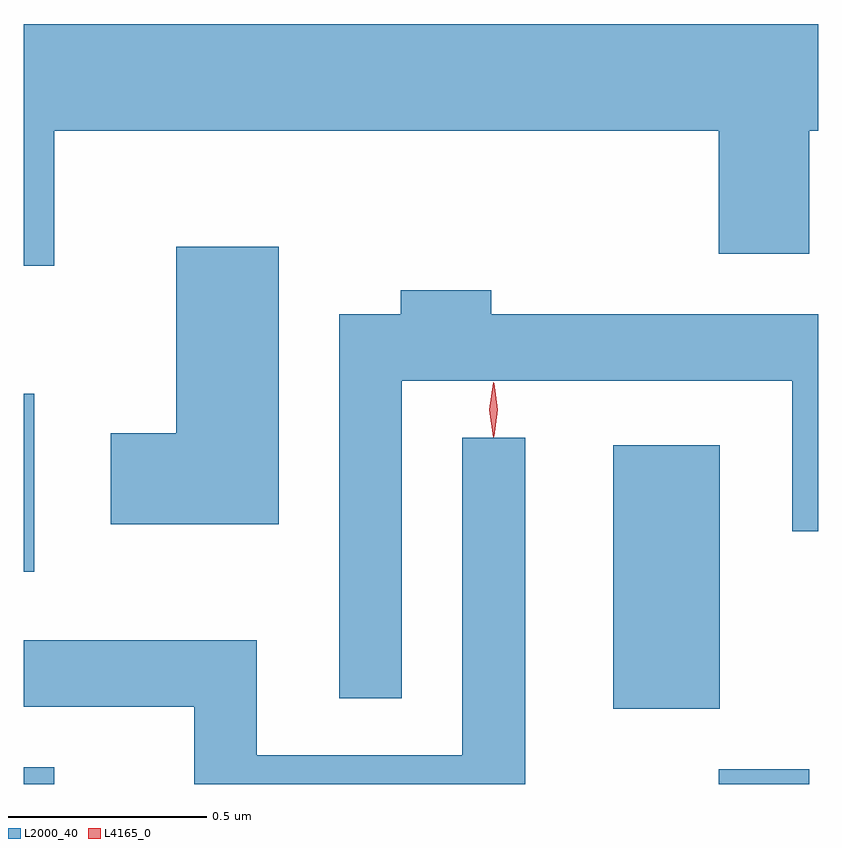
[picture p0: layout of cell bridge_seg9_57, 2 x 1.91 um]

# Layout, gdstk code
import gdstk
lib = gdstk.Library(unit=1e-6, precision=1e-09)
def R(c, l, rs):  # rectangles x0, y0, x1, y1
    for r in rs: c.add(gdstk.rectangle(r[:2], r[2:], *l))
def P(c, l, *ps):  # polygons
    for p in ps: c.add(gdstk.Polygon(p, *l))
L2000_40 = (2000, 40)
L4165_0 = (4165, 0)

bridge_seg9_57 = lib.new_cell('bridge_seg9_57')
R(bridge_seg9_57, L2000_40, [(1495.452,1985.732,1495.529,1985.774), (1497.201,1985.732,1497.429,1985.769), (1496.936,1985.921,1497.204,1986.584), (1495.452,1986.266,1495.479,1986.714)])
P(bridge_seg9_57, L2000_40, [(1495.529,1987.376),(1497.201,1987.376),(1497.201,1987.066),(1497.429,1987.066),(1497.429,1987.376),(1497.452,1987.376),(1497.452,1987.644),(1495.452,1987.644),(1495.452,1987.036),(1495.529,1987.036)],
  [(1496.094,1987.084),(1495.836,1987.084),(1495.836,1986.614),(1495.671,1986.614),(1495.671,1986.386),(1496.094,1986.386)],
  [(1496.404,1986.746),(1497.386,1986.746),(1497.386,1986.368),(1497.452,1986.368),(1497.452,1986.914),(1496.629,1986.914),(1496.629,1986.974),(1496.401,1986.974),(1496.401,1986.914),(1496.246,1986.914),(1496.246,1985.948),(1496.404,1985.948)],
  [(1496.714,1986.603),(1496.556,1986.603),(1496.556,1985.804),(1496.039,1985.804),(1496.039,1986.094),(1495.452,1986.094),(1495.452,1985.926),(1495.881,1985.926),(1495.881,1985.732),(1496.714,1985.732)])
P(bridge_seg9_57, L4165_0, [(1496.635,1986.607),(1496.635,1986.607),(1496.625,1986.674),(1496.635,1986.74),(1496.635,1986.741),(1496.636,1986.74),(1496.645,1986.674),(1496.636,1986.607)],
  [(1496.634,1986.604),(1496.634,1986.604),(1496.624,1986.673),(1496.634,1986.742),(1496.634,1986.743),(1496.635,1986.742),(1496.644,1986.673),(1496.635,1986.604)])

lib.write_gds('bridge_seg9_57.gds')
